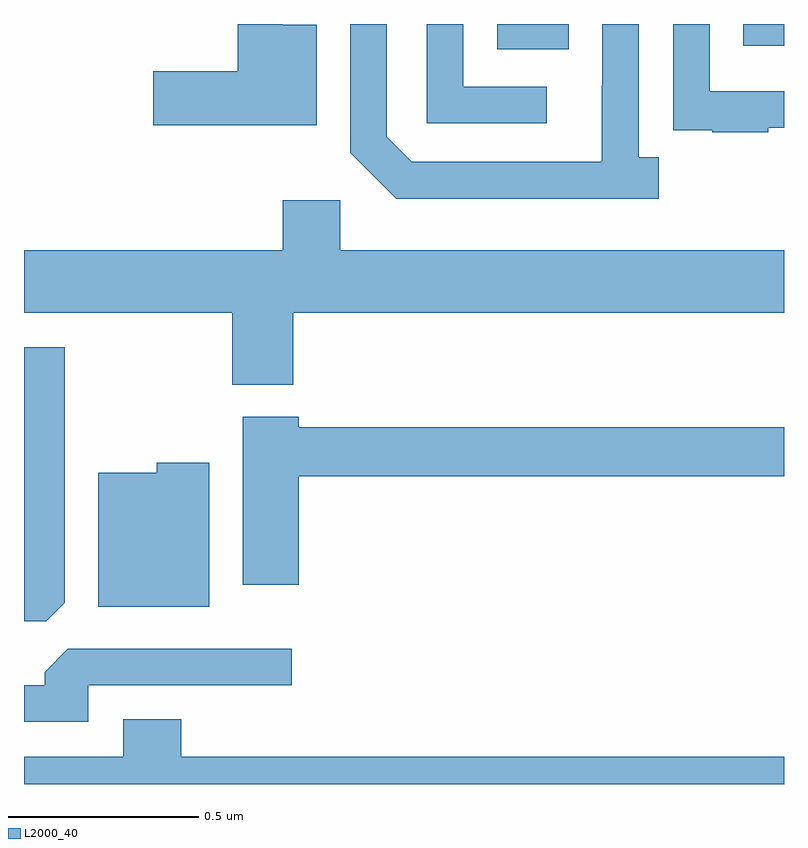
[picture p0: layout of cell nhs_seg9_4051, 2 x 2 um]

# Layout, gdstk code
import gdstk
lib = gdstk.Library(unit=1e-6, precision=1e-09)
def R(c, l, rs):  # rectangles x0, y0, x1, y1
    for r in rs: c.add(gdstk.rectangle(r[:2], r[2:], *l))
def P(c, l, *ps):  # polygons
    for p in ps: c.add(gdstk.Polygon(p, *l))
L2000_40 = (2000, 40)

nhs_seg9_4051 = lib.new_cell('nhs_seg9_4051')
R(nhs_seg9_4051, L2000_40, [(162.245,1210.433,162.433,1210.5), (162.893,1210.443,163,1210.5)])
P(nhs_seg9_4051, L2000_40, [(162.959,1210.227),(163,1210.227),(163,1210.323),(162.804,1210.323),(162.804,1210.5),(162.708,1210.5),(162.708,1210.33),(162.709,1210.33),(162.709,1210.221),(162.811,1210.221),(162.811,1210.215),(162.959,1210.215)],
  [(162.376,1210.335),(162.156,1210.335),(162.156,1210.5),(162.06,1210.5),(162.06,1210.239),(162.376,1210.239)],
  [(161.77,1210.498),(161.681,1210.498),(161.681,1210.5),(161.563,1210.5),(161.563,1210.376),(161.34,1210.376),(161.34,1210.234),(161.77,1210.234)],
  [(162.67,1210.15),(162.618,1210.15),(162.618,1210.5),(162.522,1210.5),(162.522,1210.337),(162.521,1210.337),(162.521,1210.137),(162.021,1210.137),(161.955,1210.203),(161.955,1210.5),(161.859,1210.5),(161.859,1210.161),(161.98,1210.04),(162.67,1210.04)],
  [(161.708,1209.74),(163,1209.74),(163,1209.904),(161.832,1209.904),(161.832,1210.036),(161.681,1210.036),(161.681,1209.904),(161,1209.904),(161,1209.74),(161.548,1209.74),(161.548,1209.551),(161.708,1209.551)],
  [(161.107,1208.977),(161.107,1209.649),(161,1209.649),(161,1208.928),(161.058,1208.928)],
  [(161.723,1209.31),(163,1209.31),(163,1209.439),(161.723,1209.439),(161.723,1209.466),(161.576,1209.466),(161.576,1209.024),(161.723,1209.024)],
  [(161.488,1209.346),(161.349,1209.346),(161.349,1209.319),(161.195,1209.319),(161.195,1208.966),(161.488,1208.966)],
  [(161.169,1208.76),(161.704,1208.76),(161.704,1208.856),(161.115,1208.856),(161.054,1208.794),(161.054,1208.76),(161,1208.76),(161,1208.664),(161.169,1208.664)],
  [(161.261,1208.671),(161.261,1208.572),(161,1208.572),(161,1208.5),(163,1208.5),(163,1208.572),(161.414,1208.572),(161.414,1208.671)])

lib.write_gds('nhs_seg9_4051.gds')
